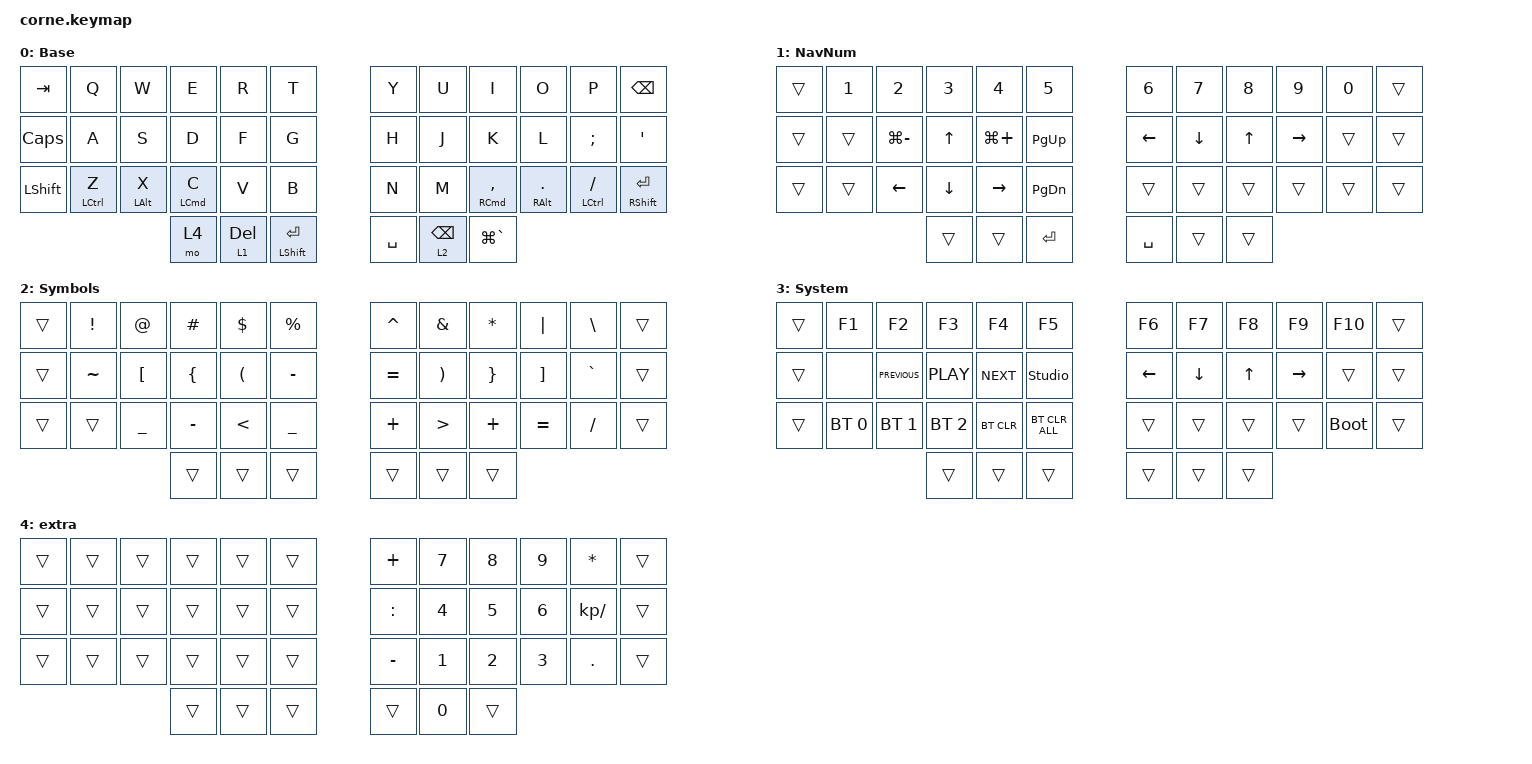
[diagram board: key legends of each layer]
#include <behaviors.dtsi>
#include <dt-bindings/zmk/bt.h>
#include <dt-bindings/zmk/keys.h>

#define DEF 0
#define NAV 1
#define SYM 2
#define ADJ 3
#define EXTRA 4

/ {
    behaviors {
        hm: homerow_mods {
            compatible = "zmk,behavior-hold-tap";
            label = "HOMEROW_MODS";
            #binding-cells = <2>;
            tapping-term-ms = <200>;
            quick_tap_ms = <0>;
            flavor = "tap-preferred";
            bindings = <&kp>, <&kp>;

            quick-tap-ms = <180>;
            global-quick-tap;
        };

        para: para {
            compatible = "zmk,behavior-tap-dance";
            label = "PARA";
            #binding-cells = <0>;
            bindings = <&kp LEFT_PARENTHESIS>, <&kp RIGHT_PARENTHESIS>;
        };

        caps: caps {
            compatible = "zmk,behavior-caps-word";
            label = "CAPS";
            #binding-cells = <0>;
            continue-list = <MINUS BACKSPACE>;
        };

        paraless: paraless {
            compatible = "zmk,behavior-mod-morph";
            label = "PARALESS";
            bindings = <&kp LEFT_PARENTHESIS>, <&kp LESS_THAN>;

            #binding-cells = <0>;
            mods = <(MOD_LSFT)>;
        };

        paragreat: paragreat {
            compatible = "zmk,behavior-mod-morph";
            label = "PARAGREAT";
            bindings = <&kp RIGHT_PARENTHESIS>, <&kp GREATER_THAN>;

            #binding-cells = <0>;
            mods = <(MOD_LSFT)>;
        };

        close_tab_window: close_tab_window {
            compatible = "zmk,behavior-tap-dance";
            label = "CLOSE_TAB_WINDOW";
            #binding-cells = <0>;
            bindings = <&kp W>, <&kp LG(W)>;
        };
    };

    macros {
        copy: copy {
            compatible = "zmk,behavior-macro";
            #binding-cells = <0>;
            bindings = <&kp LG(C)>;
            label = "COPY";
        };

        span_a: span_a {
            compatible = "zmk,behavior-macro";
            #binding-cells = <0>;
            bindings = <&kp LA(E) &kp A>;
            label = "SPAN_A";
        };

        span_e: span_e {
            compatible = "zmk,behavior-macro";
            #binding-cells = <0>;
            bindings = <&kp LA(E) &kp E>;
            label = "SPAN_E";
        };

        span_i: span_i {
            compatible = "zmk,behavior-macro";
            #binding-cells = <0>;
            bindings = <&kp LA(E) &kp I>;
            label = "SPAN_I";
        };

        span_o: span_o {
            compatible = "zmk,behavior-macro";
            #binding-cells = <0>;
            bindings = <&kp LA(E) &kp O>;
            label = "SPAN_O";
        };

        span_u: span_u {
            compatible = "zmk,behavior-macro";
            #binding-cells = <0>;
            bindings = <&kp LA(E) &kp U>;
            label = "SPAN_U";
        };

        span_n: span_n {
            compatible = "zmk,behavior-macro";
            #binding-cells = <0>;
            bindings = <&kp LA(N) &kp N>;
            label = "SPAN_N";
        };

        paste_test: paste_test {
            compatible = "zmk,behavior-macro";
            #binding-cells = <0>;
            bindings = <&kp LG(V)>;
            label = "PASTE_TEST";
        };

        screenshot: screenshot {
            compatible = "zmk,behavior-macro";
            #binding-cells = <0>;
            bindings = <&kp LS(LG(LA(NUMBER_4)))>;
            label = "SCREENSHOT";
        };

        screenshot_copy: screenshot_copy {
            compatible = "zmk,behavior-macro";
            #binding-cells = <0>;
            bindings = <&kp LS(LG(NUMBER_4))>;
            label = "SCREENSHOT_COPY";
        };

        minimize: minimize {
            compatible = "zmk,behavior-macro";
            #binding-cells = <0>;
            bindings = <&kp LG(M)>;
            label = "MINIMIZE";
        };

        cut: cut {
            compatible = "zmk,behavior-macro";
            #binding-cells = <0>;
            bindings = <&kp LG(X)>;
            label = "CUT";
        };
    };

    combos {
        compatible = "zmk,combos";

        span_a {
            bindings = <&span_a>;
            key-positions = <13 22>;
        };

        span_n {
            bindings = <&span_n>;
            key-positions = <30 22>;
        };

        span_e {
            bindings = <&span_e>;
            key-positions = <22 3>;
        };

        span_i {
            bindings = <&span_i>;
            key-positions = <22 8>;
        };

        span_o {
            bindings = <&span_o>;
            key-positions = <22 9>;
        };

        span_u {
            bindings = <&span_u>;
            key-positions = <22 7>;
        };

        screen_shot_file {
            bindings = <&screenshot>;
            key-positions = <14 15 16>;
        };

        screen_shot_copy {
            bindings = <&screenshot_copy>;
            key-positions = <15 16>;
        };

        copy {
            bindings = <&copy>;
            key-positions = <26 27>;
        };

        paste {
            bindings = <&paste_test>;
            key-positions = <27 28>;
        };

        minimize {
            bindings = <&minimize>;
            key-positions = <13 14 15 16>;
        };

        cut {
            bindings = <&cut>;
            key-positions = <25 26>;
        };

        left_side_window {
            bindings = <&kp F13>;
            key-positions = <2 14>;
        };

        maximize_window {
            bindings = <&kp F17>;
            key-positions = <3 15>;
        };

        right_side_window {
            bindings = <&kp F16>;
            key-positions = <4 16>;
        };
    };

    //

    keymap {
        compatible = "zmk,keymap";

        DEF {
            display-name = "Base";

            // -----------------------------------------------------------------------------------------
            // |  Q  |  W  |  E  |  R  |  T  |   |  Y  |  U   |  I  |  O  |  P  |
            // |  A  |  S  |  D  |  F  |  G  |   |  H  |  J   |  K  |  L  |  ;  |
            // |  Z  |  X  |  C  |  V  |  B  |   |  N  |  M   |  ,  |  .  |  /  |
            // | GUI | CTRL | SHFT | LWR | SPC |   | ENT | RSE  | BKSP | ALT | ESC |

            bindings = <
&kp TAB         &kp Q               &kp W           &kp E               &kp R         &kp T                   &kp Y      &kp U            &kp I                    &kp O              &kp P                  &kp BACKSPACE
&kp CAPS        &kp A               &kp S           &kp D               &kp F         &kp G                   &kp H      &kp J            &kp K                    &kp L              &kp SEMI               &kp SQT
&kp LEFT_SHIFT  &hm LEFT_CONTROL Z  &hm LEFT_ALT X  &hm LEFT_COMMAND C  &kp V         &kp B                   &kp N      &kp M            &hm RIGHT_COMMAND COMMA  &hm RIGHT_ALT DOT  &hm LEFT_CONTROL FSLH  &mt RSHFT ENTER
                                                    &mo 4               &lt 1 DELETE  &mt LEFT_SHIFT ENTER    &kp SPACE  &lt 2 BACKSPACE  &kp LG(GRAVE)
            >;
        };

        NAV {
            display-name = "NavNum";

            // -----------------------------------------------------------------------------------------
            // |  TAB |  1  |  2  |  3  |  4  |  5  |   |  6  |  7  |  8  |  9  |  0  | BKSP |
            // | BTCLR| BT1 | BT2 | BT3 | BT4 | BT5 |   | LFT | DWN |  UP | RGT |     |      |
            // | SHFT |     |     |     |     |     |   |     |     |     |     |     |      |
            // | GUI | CTRL | SHFT | LWR | SPC |   | ENT | RSE  | BKSP | ALT | ESC |

            bindings = <
&trans  &kp NUMBER_1  &kp NUMBER_2   &kp NUMBER_3  &kp NUMBER_4     &kp NUMBER_5     &kp NUMBER_6  &kp N7    &kp N8        &kp N9     &kp N0  &trans
&trans  &trans        &kp LG(MINUS)  &kp UP        &kp LG(PLUS)     &kp PAGE_UP      &kp LEFT      &kp DOWN  &kp UP_ARROW  &kp RIGHT  &trans  &trans
&trans  &trans        &kp LEFT       &kp DOWN      &kp RIGHT_ARROW  &kp PAGE_DOWN    &trans        &trans    &trans        &trans     &trans  &trans
                                     &trans        &trans           &kp ENTER        &kp SPACE     &trans    &trans
            >;
        };

        SYM {
            display-name = "Symbols";

            // -----------------------------------------------------------------------------------------
            // |  TAB |  !  |  @  |  #  |  $  |  %  |   |  ^  |  &  |  *  |  (  |  )  | BKSP |
            // | CTRL |     |     |     |     |     |   |  -  |  =  |  [  |  ]  |  \  |  `   |
            // | SHFT |     |     |     |     |     |   |  _  |  +  |  {  |  }  | "|" |  ~   |
            //                    | GUI |     | SPC |   | ENT |     | ALT |

            bindings = <
&trans  &kp EXCL   &kp AT            &kp HASH        &kp DLLR              &kp PRCNT    &kp CARET  &kp AMPS               &kp ASTRK        &kp PIPE   &kp BACKSLASH  &trans
&trans  &kp TILDE  &kp LEFT_BRACKET  &kp LEFT_BRACE  &kp LEFT_PARENTHESIS  &kp MINUS    &kp EQUAL  &kp RIGHT_PARENTHESIS  &kp RIGHT_BRACE  &kp RBKT   &kp GRAVE      &trans
&trans  &trans     &kp UNDER         &kp MINUS       &kp LESS_THAN         &kp UNDER    &kp PLUS   &kp GREATER_THAN       &kp PLUS         &kp EQUAL  &kp SLASH      &trans
                                     &trans          &trans                &trans       &trans     &trans                 &trans
            >;
        };

        ADJ {
            display-name = "System";
            bindings = <
&trans  &kp F1        &kp F2          &kp F3        &kp F4      &kp F5            &kp F6          &kp F7          &kp F8        &kp F9           &kp F10      &trans
&trans  &none         &kp C_PREVIOUS  &kp C_PLAY    &kp C_NEXT  &studio_unlock    &kp LEFT_ARROW  &kp DOWN_ARROW  &kp UP_ARROW  &kp RIGHT_ARROW  &trans       &trans
&trans  &bt BT_SEL 0  &bt BT_SEL 1    &bt BT_SEL 2  &bt BT_CLR  &bt BT_CLR_ALL    &trans          &trans          &trans        &trans           &bootloader  &trans
                                      &trans        &trans      &trans            &trans          &trans          &trans
            >;
        };

        EXTRA {
            display-name = "extra";
            bindings = <
&trans  &trans  &trans  &trans  &trans  &trans    &kp PLUS   &kp N7        &kp N8        &kp N9        &kp ASTERISK   &trans
&trans  &trans  &trans  &trans  &trans  &trans    &kp COLON  &kp NUMBER_4  &kp N5        &kp NUMBER_6  &kp KP_DIVIDE  &trans
&trans  &trans  &trans  &trans  &trans  &trans    &kp MINUS  &kp NUMBER_1  &kp NUMBER_2  &kp NUMBER_3  &kp PERIOD     &trans
                        &trans  &trans  &trans    &trans     &kp N0        &trans
            >;
        };
    };

    conditional_layers {
        compatible = "zmk,conditional-layers";

        l3 {
            if-layers = <1 2>;
            then-layer = <3>;
        };
    };
};
